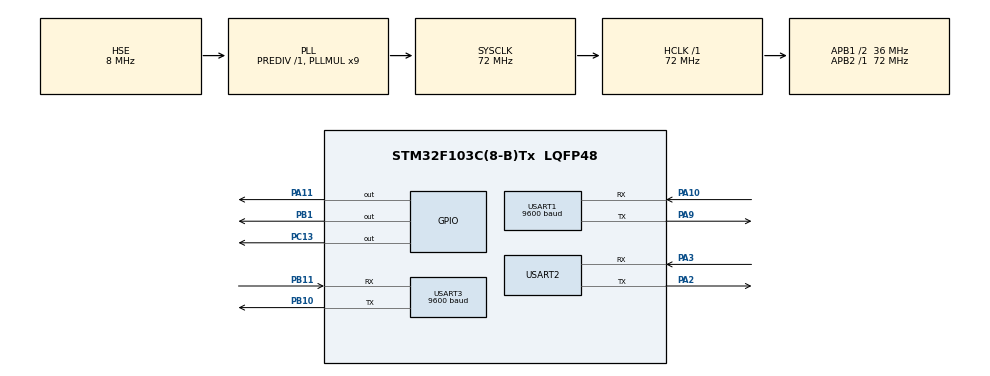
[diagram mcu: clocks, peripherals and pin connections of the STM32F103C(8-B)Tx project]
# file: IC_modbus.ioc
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Dma.Request0=USART1_RX
Dma.Request1=USART1_TX
Dma.Request2=USART3_RX
Dma.Request3=USART3_TX
Dma.USART1_RX.0.Direction=DMA_PERIPH_TO_MEMORY
Dma.USART1_RX.0.Instance=DMA1_Channel5
Dma.USART1_RX.0.MemDataAlignment=DMA_MDATAALIGN_BYTE
Dma.USART1_RX.0.MemInc=DMA_MINC_ENABLE
Dma.USART1_RX.0.Mode=DMA_NORMAL
Dma.USART1_RX.0.PeriphDataAlignment=DMA_PDATAALIGN_BYTE
Dma.USART1_RX.0.PeriphInc=DMA_PINC_DISABLE
Dma.USART1_RX.0.Priority=DMA_PRIORITY_LOW
Dma.USART1_TX.1.Direction=DMA_MEMORY_TO_PERIPH
Dma.USART1_TX.1.Instance=DMA1_Channel4
Dma.USART1_TX.1.MemDataAlignment=DMA_MDATAALIGN_BYTE
Dma.USART1_TX.1.MemInc=DMA_MINC_ENABLE
Dma.USART1_TX.1.Mode=DMA_NORMAL
Dma.USART1_TX.1.PeriphDataAlignment=DMA_PDATAALIGN_BYTE
Dma.USART1_TX.1.PeriphInc=DMA_PINC_DISABLE
Dma.USART1_TX.1.Priority=DMA_PRIORITY_LOW
Dma.USART3_RX.2.Direction=DMA_PERIPH_TO_MEMORY
Dma.USART3_RX.2.Instance=DMA1_Channel3
Dma.USART3_RX.2.MemDataAlignment=DMA_MDATAALIGN_BYTE
Dma.USART3_RX.2.MemInc=DMA_MINC_ENABLE
Dma.USART3_RX.2.Mode=DMA_NORMAL
Dma.USART3_RX.2.PeriphDataAlignment=DMA_PDATAALIGN_BYTE
Dma.USART3_RX.2.PeriphInc=DMA_PINC_DISABLE
Dma.USART3_RX.2.Priority=DMA_PRIORITY_LOW
Dma.USART3_TX.3.Direction=DMA_MEMORY_TO_PERIPH
Dma.USART3_TX.3.Instance=DMA1_Channel2
Dma.USART3_TX.3.MemDataAlignment=DMA_MDATAALIGN_BYTE
Dma.USART3_TX.3.MemInc=DMA_MINC_ENABLE
Dma.USART3_TX.3.Mode=DMA_NORMAL
Dma.USART3_TX.3.PeriphDataAlignment=DMA_PDATAALIGN_BYTE
Dma.USART3_TX.3.PeriphInc=DMA_PINC_DISABLE
Dma.USART3_TX.3.Priority=DMA_PRIORITY_LOW
FREERTOS.Tasks01=modbusTask,0,512,StartModbusTask,Default,NULL,Dynamic,NULL,NULL;batteryTask,1,512,StartBatteryTask,Default,NULL,Dynamic,NULL,NULL
FREERTOS.configTOTAL_HEAP_SIZE=10240
Mcu.Family=STM32F1
Mcu.Name=STM32F103C(8-B)Tx
Mcu.Package=LQFP48
NVIC.DMA1_Channel2_IRQn=true\:5\:0\:false\:false\:true\:true\:false\:true\:true
NVIC.DMA1_Channel3_IRQn=true\:5\:0\:false\:false\:true\:true\:false\:true\:true
NVIC.DMA1_Channel4_IRQn=true\:5\:0\:false\:false\:true\:true\:false\:true\:true
NVIC.DMA1_Channel5_IRQn=true\:5\:0\:false\:false\:true\:true\:false\:true\:true
NVIC.PriorityGroup=NVIC_PRIORITYGROUP_4
NVIC.TIM4_IRQn=true\:15\:0\:false\:false\:true\:false\:false\:true\:true
NVIC.TimeBase=TIM4_IRQn
NVIC.TimeBaseIP=TIM4
NVIC.USART1_IRQn=true\:5\:0\:false\:false\:true\:true\:true\:true\:true
NVIC.USART2_IRQn=true\:5\:0\:false\:false\:true\:true\:true\:true\:true
NVIC.USART3_IRQn=true\:5\:0\:false\:false\:true\:true\:true\:true\:true
PA10.Mode=Asynchronous
PA10.Signal=USART1_RX
PA11.Signal=GPIO_Output
PA13.Mode=Serial_Wire
PA13.Signal=SYS_JTMS-SWDIO
PA14.Mode=Serial_Wire
PA14.Signal=SYS_JTCK-SWCLK
PA2.Mode=Asynchronous
PA2.Signal=USART2_TX
PA3.Mode=Asynchronous
PA3.Signal=USART2_RX
PA9.Mode=Asynchronous
PA9.Signal=USART1_TX
PB1.Signal=GPIO_Output
PB10.Mode=Asynchronous
PB10.Signal=USART3_TX
PB11.Mode=Asynchronous
PB11.Signal=USART3_RX
PC13-TAMPER-RTC.Signal=GPIO_Output
PD0-OSC_IN.Mode=HSE-External-Oscillator
PD0-OSC_IN.Signal=RCC_OSC_IN
PD1-OSC_OUT.Mode=HSE-External-Oscillator
PD1-OSC_OUT.Signal=RCC_OSC_OUT
ProjectManager.HeapSize=0x400
ProjectManager.StackSize=0x400
ProjectManager.TargetToolchain=STM32CubeIDE
RCC.AHBFreq_Value=72000000
RCC.APB1CLKDivider=RCC_HCLK_DIV2
RCC.APB1Freq_Value=36000000
RCC.APB1TimFreq_Value=72000000
RCC.APB2Freq_Value=72000000
RCC.APB2TimFreq_Value=72000000
RCC.HCLKFreq_Value=72000000
RCC.PLLMUL=RCC_PLL_MUL9
RCC.PLLSourceVirtual=RCC_PLLSOURCE_HSE
RCC.SYSCLKFreq_VALUE=72000000
RCC.SYSCLKSource=RCC_SYSCLKSOURCE_PLLCLK
RCC.USBFreq_Value=72000000
USART1.BaudRate=9600
USART1.VirtualMode=VM_ASYNC
USART2.VirtualMode=VM_ASYNC
USART3.BaudRate=9600
USART3.VirtualMode=VM_ASYNC
VP_FREERTOS_VS_CMSIS_V1.Mode=CMSIS_V1
VP_SYS_VS_tim4.Mode=TIM4
board=custom

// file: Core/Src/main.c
/* USER CODE BEGIN Header */
/**
  ******************************************************************************
  * @file           : main.c
  * @brief          : Main program body
  ******************************************************************************
  * @attention
  *
  * Copyright (c) 2025 STMicroelectronics.
  * All rights reserved.
  *
  * This software is licensed under terms that can be found in the LICENSE file
  * in the root directory of this software component.
  * If no LICENSE file comes with this software, it is provided AS-IS.
  *
  ******************************************************************************
  NEW EXPRESSION: batt, modbus_regs, batt_rx_buf, batt_err_code, batt.data.voltage_dV
  */
/* USER CODE END Header */
#include "main.h"
#include "cmsis_os.h"

/* USER CODE BEGIN Includes */
#include "modbus_rtu.h"
#include "sunspec.h"
#include "battery_client.h"
#include "rs485.h"
#include "cli.h"
/* USER CODE END Includes */

/* USER CODE BEGIN PD */
#define ever ;;
/* USER CODE END PD */

UART_HandleTypeDef huart1;
UART_HandleTypeDef huart2;
UART_HandleTypeDef huart3;
DMA_HandleTypeDef hdma_usart1_rx;
DMA_HandleTypeDef hdma_usart1_tx;
DMA_HandleTypeDef hdma_usart3_rx;
DMA_HandleTypeDef hdma_usart3_tx;

osThreadId modbusTaskHandle;
osThreadId batteryTaskHandle;

void SystemClock_Config(void);
static void MX_GPIO_Init(void);
static void MX_DMA_Init(void);
static void MX_USART1_UART_Init(void);
static void MX_USART3_UART_Init(void);
static void MX_USART2_UART_Init(void);
void StartModbusTask(void const * argument);
void StartBatteryTask(void const * argument);

int main(void)
{

  /* MCU Configuration--------------------------------------------------------*/

  /* Reset of all peripherals, Initializes the Flash interface and the Systick. */
  HAL_Init();

  /* Configure the system clock */
  SystemClock_Config();

  /* Initialize all configured peripherals */
  MX_GPIO_Init();
  MX_DMA_Init();
  MX_USART1_UART_Init();
  MX_USART3_UART_Init();
  MX_USART2_UART_Init();
  /* USER CODE BEGIN 2 */
  // Inicia a memória ANTES do FreeRTOS assumir o controle
  modbus_init(20);
  sunspec_init(20);

  //  Coloca a porta do PC em modo de escuta!
  rs485_rx(GPIOB, GPIO_PIN_1);
  /* USER CODE END 2 */

  /* Create the thread(s) */
  /* definition and creation of modbusTask */
  osThreadDef(modbusTask, StartModbusTask, osPriorityNormal, 0, 512);
  modbusTaskHandle = osThreadCreate(osThread(modbusTask), NULL);

  /* definition and creation of batteryTask */
  osThreadDef(batteryTask, StartBatteryTask, osPriorityAboveNormal, 0, 512);
  batteryTaskHandle = osThreadCreate(osThread(batteryTask), NULL);

  /* definition and creation of cliTask */
  osThreadDef(cliTask, StartCLITask, osPriorityLow, 0, 512);
  osThreadCreate(osThread(cliTask), NULL);

  /* Start scheduler */
  osKernelStart();

  /* We should never get here as control is now taken by the scheduler */

  /* Infinite loop */
  while (1)
  {

  }
}

void SystemClock_Config(void)
{
  RCC_OscInitTypeDef RCC_OscInitStruct = {0};
  RCC_ClkInitTypeDef RCC_ClkInitStruct = {0};

  /** Initializes the RCC Oscillators according to the specified parameters
  * in the RCC_OscInitTypeDef structure.
  */
  RCC_OscInitStruct.OscillatorType = RCC_OSCILLATORTYPE_HSE;
  RCC_OscInitStruct.HSEState = RCC_HSE_ON;
  RCC_OscInitStruct.HSEPredivValue = RCC_HSE_PREDIV_DIV1;
  RCC_OscInitStruct.HSIState = RCC_HSI_ON;
  RCC_OscInitStruct.PLL.PLLState = RCC_PLL_ON;
  RCC_OscInitStruct.PLL.PLLSource = RCC_PLLSOURCE_HSE;
  RCC_OscInitStruct.PLL.PLLMUL = RCC_PLL_MUL9;
  if (HAL_RCC_OscConfig(&RCC_OscInitStruct) != HAL_OK)
  {
    Error_Handler();
  }

  /** Initializes the CPU, AHB and APB buses clocks
  */
  RCC_ClkInitStruct.ClockType = RCC_CLOCKTYPE_HCLK|RCC_CLOCKTYPE_SYSCLK
                              |RCC_CLOCKTYPE_PCLK1|RCC_CLOCKTYPE_PCLK2;
  RCC_ClkInitStruct.SYSCLKSource = RCC_SYSCLKSOURCE_PLLCLK;
  RCC_ClkInitStruct.AHBCLKDivider = RCC_SYSCLK_DIV1;
  RCC_ClkInitStruct.APB1CLKDivider = RCC_HCLK_DIV2;
  RCC_ClkInitStruct.APB2CLKDivider = RCC_HCLK_DIV1;

  if (HAL_RCC_ClockConfig(&RCC_ClkInitStruct, FLASH_LATENCY_2) != HAL_OK)
  {
    Error_Handler();
  }
}

static void MX_USART1_UART_Init(void)
{

  huart1.Instance = USART1;
  huart1.Init.BaudRate = 9600;
  huart1.Init.WordLength = UART_WORDLENGTH_8B;
  huart1.Init.StopBits = UART_STOPBITS_1;
  huart1.Init.Parity = UART_PARITY_NONE;
  huart1.Init.Mode = UART_MODE_TX_RX;
  huart1.Init.HwFlowCtl = UART_HWCONTROL_NONE;
  huart1.Init.OverSampling = UART_OVERSAMPLING_16;
  if (HAL_UART_Init(&huart1) != HAL_OK)
  {
    Error_Handler();
  }

}

static void MX_USART2_UART_Init(void)
{

  huart2.Instance = USART2;
  huart2.Init.BaudRate = 115200;
  huart2.Init.WordLength = UART_WORDLENGTH_8B;
  huart2.Init.StopBits = UART_STOPBITS_1;
  huart2.Init.Parity = UART_PARITY_NONE;
  huart2.Init.Mode = UART_MODE_TX_RX;
  huart2.Init.HwFlowCtl = UART_HWCONTROL_NONE;
  huart2.Init.OverSampling = UART_OVERSAMPLING_16;
  if (HAL_UART_Init(&huart2) != HAL_OK)
  {
    Error_Handler();
  }

}

static void MX_USART3_UART_Init(void)
{

  huart3.Instance = USART3;
  huart3.Init.BaudRate = 9600;
  huart3.Init.WordLength = UART_WORDLENGTH_8B;
  huart3.Init.StopBits = UART_STOPBITS_1;
  huart3.Init.Parity = UART_PARITY_NONE;
  huart3.Init.Mode = UART_MODE_TX_RX;
  huart3.Init.HwFlowCtl = UART_HWCONTROL_NONE;
  huart3.Init.OverSampling = UART_OVERSAMPLING_16;
  if (HAL_UART_Init(&huart3) != HAL_OK)
  {
    Error_Handler();
  }

}

static void MX_DMA_Init(void)
{

  /* DMA controller clock enable */
  __HAL_RCC_DMA1_CLK_ENABLE();

  /* DMA interrupt init */
  /* DMA1_Channel2_IRQn interrupt configuration */
  HAL_NVIC_SetPriority(DMA1_Channel2_IRQn, 5, 0);
  HAL_NVIC_EnableIRQ(DMA1_Channel2_IRQn);
  /* DMA1_Channel3_IRQn interrupt configuration */
  HAL_NVIC_SetPriority(DMA1_Channel3_IRQn, 5, 0);
  HAL_NVIC_EnableIRQ(DMA1_Channel3_IRQn);
  /* DMA1_Channel4_IRQn interrupt configuration */
  HAL_NVIC_SetPriority(DMA1_Channel4_IRQn, 5, 0);
  HAL_NVIC_EnableIRQ(DMA1_Channel4_IRQn);
  /* DMA1_Channel5_IRQn interrupt configuration */
  HAL_NVIC_SetPriority(DMA1_Channel5_IRQn, 5, 0);
  HAL_NVIC_EnableIRQ(DMA1_Channel5_IRQn);

}

static void MX_GPIO_Init(void)
{
  GPIO_InitTypeDef GPIO_InitStruct = {0};

  /* GPIO Ports Clock Enable */
  __HAL_RCC_GPIOC_CLK_ENABLE();
  __HAL_RCC_GPIOD_CLK_ENABLE();
  __HAL_RCC_GPIOA_CLK_ENABLE();
  __HAL_RCC_GPIOB_CLK_ENABLE();

  /*Configure GPIO pin Output Level */
  HAL_GPIO_WritePin(GPIOC, GPIO_PIN_13, GPIO_PIN_RESET);

  /*Configure GPIO pin Output Level */
  HAL_GPIO_WritePin(GPIOB, GPIO_PIN_1, GPIO_PIN_RESET);

  /*Configure GPIO pin Output Level */
  HAL_GPIO_WritePin(GPIOA, GPIO_PIN_11, GPIO_PIN_RESET);

  /*Configure GPIO pin : PC13 */
  GPIO_InitStruct.Pin = GPIO_PIN_13;
  GPIO_InitStruct.Mode = GPIO_MODE_OUTPUT_PP;
  GPIO_InitStruct.Pull = GPIO_NOPULL;
  GPIO_InitStruct.Speed = GPIO_SPEED_FREQ_LOW;
  HAL_GPIO_Init(GPIOC, &GPIO_InitStruct);

  /*Configure GPIO pin : PB1 */
  GPIO_InitStruct.Pin = GPIO_PIN_1;
  GPIO_InitStruct.Mode = GPIO_MODE_OUTPUT_PP;
  GPIO_InitStruct.Pull = GPIO_NOPULL;
  GPIO_InitStruct.Speed = GPIO_SPEED_FREQ_LOW;
  HAL_GPIO_Init(GPIOB, &GPIO_InitStruct);

  /*Configure GPIO pin : PA11 */
  GPIO_InitStruct.Pin = GPIO_PIN_11;
  GPIO_InitStruct.Mode = GPIO_MODE_OUTPUT_PP;
  GPIO_InitStruct.Pull = GPIO_NOPULL;
  GPIO_InitStruct.Speed = GPIO_SPEED_FREQ_LOW;
  HAL_GPIO_Init(GPIOA, &GPIO_InitStruct);

}

/* USER CODE BEGIN 4 */
void HAL_UARTEx_RxEventCallback(UART_HandleTypeDef *huart, uint16_t Size)
{
    // Apenas o QModBus do PC usa interrupção
    if (huart->Instance == USART3)
    {
        modbus_rtu_rx_complete(Size);
    }
}

void HAL_UART_ErrorCallback(UART_HandleTypeDef *huart)
{
    // Ignora erros de ruído
}
/* USER CODE END 4 */

void StartModbusTask(void const * argument)
{
  /* USER CODE BEGIN 5 */
	/* Infinite loop */
	for(ever)
	{
		modbus_poll();
	    osDelay(10); // Pausa 10ms (não sufocar o RTOS)
	}
  /* USER CODE END 5 */
}

void StartBatteryTask(void const * argument)
{
  /* USER CODE BEGIN StartBatteryTask */

	  battery_client_init(16);

	  /* Infinite loop */
	  for(ever)
	  {
	      sunspec_update();

	      // O LED pisca aqui para provar que a Task da Bateria esta funfando
	      HAL_GPIO_TogglePin(GPIOC, GPIO_PIN_13);
	      osDelay(500); // RTOS, me acorde daqui a meio segundo.
	  }
  /* USER CODE END StartBatteryTask */
}

void HAL_TIM_PeriodElapsedCallback(TIM_HandleTypeDef *htim)
{
  if (htim->Instance == TIM4)
  {
    HAL_IncTick();
  }
}

void Error_Handler(void)
{
  __disable_irq();
  while (1)
  {
  }
}
